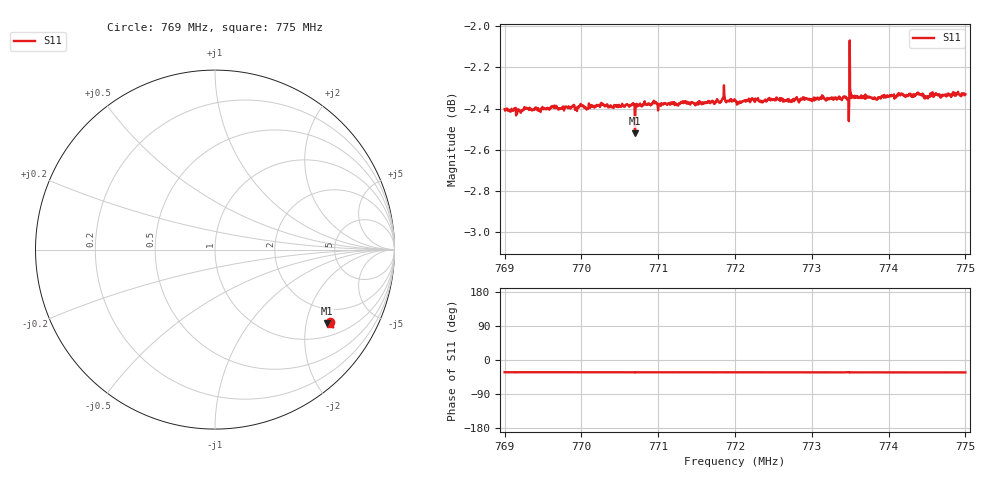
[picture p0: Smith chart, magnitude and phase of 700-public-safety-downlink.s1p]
! Calibrated averaged scanner-service zoom
# Hz S RI R 50
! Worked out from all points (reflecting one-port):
!   1001 points, 769 MHz to 775 MHz, reference 50 ohm
!   lowest |S11| = -2.5 dB at 770.698 MHz (marker M1), VSWR 6.94, Z = 71.5 - j133 ohm
!   phase of S11 starts at -32 deg and turns -1 deg over the sweep
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7.69e8  0.6412 -0.4048
7.69174e8  0.6407 -0.4055
7.69282e8  0.6417 -0.4051
7.6945e8  0.6411 -0.4043
7.6975e8  0.641 -0.4059
7.69882e8  0.642 -0.4053
7.705e8  0.6407 -0.4076
7.70662e8  0.6421 -0.4069
7.70668e8  0.6423 -0.4076
7.70698e8  0.6259 -0.4099
7.70728e8  0.6411 -0.4073
7.7074e8  0.6416 -0.4073
7.70944e8  0.6435 -0.408
7.7125e8  0.6412 -0.4081
7.71784e8  0.6421 -0.4092
7.71838e8  0.6438 -0.4094
7.72e8  0.6426 -0.4091
7.7275e8  0.6427 -0.4096
7.73326e8  0.642 -0.4111
7.73458e8  0.6423 -0.4107
7.73464e8  0.6422 -0.4107
7.735e8  0.6429 -0.4111
7.73524e8  0.6435 -0.4122
7.7353e8  0.6431 -0.4119
7.73818e8  0.643 -0.4113
7.7425e8  0.6429 -0.4124
7.7449e8  0.6428 -0.4122
7.75e8  0.6429 -0.4141
